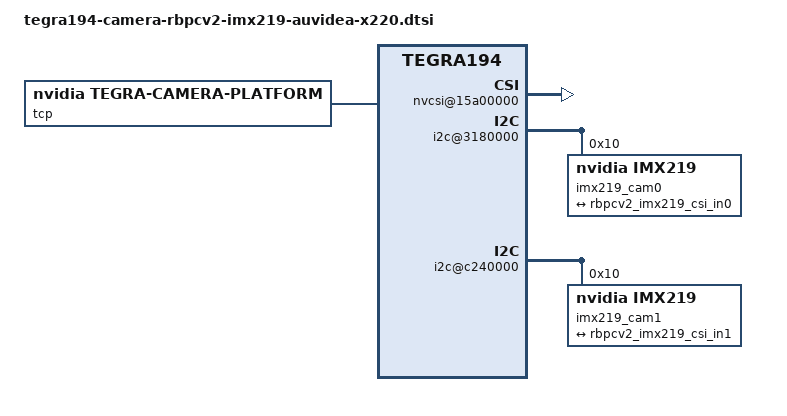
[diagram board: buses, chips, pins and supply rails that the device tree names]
/*
 * Copyright (c) 2018-2020, NVIDIA CORPORATION.  All rights reserved.
 *
 * This program is free software; you can redistribute it and/or modify
 * it under the terms of the GNU General Public License as published by
 * the Free Software Foundation; either version 2 of the License, or
 * (at your option) any later version.
 *
 * This program is distributed in the hope that it will be useful, but WITHOUT
 * ANY WARRANTY; without even the implied warranty of MERCHANTABILITY or
 * FITNESS FOR A PARTICULAR PURPOSE.  See the GNU General Public License for
 * more details.
 *
 * You should have received a copy of the GNU General Public License
 * along with this program.  If not, see <http://www.gnu.org/licenses/>.
 */

//new file created to support imx219 cameras on the auvidea X220/X221(fd)
#include <dt-bindings/media/camera.h>

/ {
	host1x {
		//delete-node/ vi@15c10000;
		vi_base: vi@15c10000  {
			status="okay";
			num-channels = <2>;
			ports {
				#address-cells = <1>;
				#size-cells = <0>;
				vi_port0: port@0 {
					status="okay";
					reg = <0>;
					rbpcv2_imx219_vi_in0: endpoint {
						status="okay";
						vc-id = <0>;
						port-index = <0>;
						bus-width = <2>;
						remote-endpoint = <&rbpcv2_imx219_csi_out0>;
					};
				};
				vi_port1: port@1 {
					status="okay";
					reg = <1>;
					rbpcv2_imx219_vi_in1: endpoint {
						status="okay";
						vc-id = <1>;
						port-index = <2>;
						bus-width = <2>;
						remote-endpoint = <&rbpcv2_imx219_csi_out1>;
					};
				};
				/*vi_port2: port@2 {
					reg = <2>;
					rbpcv2_imx219_vi_in2: endpoint {
						port-index = <4>;
						bus-width = <2>;
						remote-endpoint = <&rbpcv2_imx219_csi_out2>;
					};
				};*/
			};
		};


		//delete-node/ nvcsi@15a00000;
		nvcsi@15a00000 {
			status="okay";
			num-channels = <2>;
			#address-cells = <1>;
			#size-cells = <0>;
			csi_chan0: channel@0 {
				status="okay";
				reg = <0>;
				ports {
					status="okay";
					#address-cells = <1>;
					#size-cells = <0>;
					csi_chan0_port0: port@0 {
						status="okay";
						reg = <0>;
						rbpcv2_imx219_csi_in0: endpoint@0 {
							status="okay";
							port-index = <0>;
							bus-width = <2>;
							remote-endpoint = <&rbpcv2_imx219_out0>;
						};
					};
					csi_chan0_port1: port@1 {
						status="okay";
						reg = <1>;
						rbpcv2_imx219_csi_out0: endpoint@1 {
							status="okay";
							remote-endpoint = <&rbpcv2_imx219_vi_in0>;
						};
					};
				};
			};
			csi_chan1: channel@1 {
				status="okay";
				reg = <1>;
				ports {
					status="okay";
					#address-cells = <1>;
					#size-cells = <0>;
					csi_chan1_port0: port@0 {
						status="okay";
						reg = <0>;
						rbpcv2_imx219_csi_in1: endpoint@2 {
							status="okay";
							port-index = <2>;
							bus-width = <2>;
							remote-endpoint = <&rbpcv2_imx219_out1>;
						};
					};
					csi_chan1_port1: port@1 {
						status="okay";
						reg = <1>;
						rbpcv2_imx219_csi_out1: endpoint@3 {
							status="okay";
							remote-endpoint = <&rbpcv2_imx219_vi_in1>;
						};
					};
				};
			};
			/*csi_chan2: channel@2 {
				reg = <2>;
				ports {
					#address-cells = <1>;
					#size-cells = <0>;
					csi_chan2_port0: port@0 {
						reg = <0>;
						rbpcv2_imx219_csi_in2: endpoint@4 {
							port-index = <4>;
							bus-width = <2>;
							remote-endpoint = <&rbpcv2_imx219_out2>;
						};
					};
					csi_chan2_port1: port@1 {
						reg = <1>;
						rbpcv2_imx219_csi_out2: endpoint@5 {
							remote-endpoint = <&rbpcv2_imx219_vi_in2>;
						};
					};
				};
			};*/
		};
	};

	i2c@3180000 {					
		status="okay";
		imx219_cam0: rbpcv2_imx219_a@10 {
			status="okay";
			compatible = "nvidia,imx219";
			reg = <0x10>;

			devnode = "video0";

			physical_w = "3.680";
			physical_h = "2.760";

			sensor_model = "imx219";

			use_sensor_mode_id = "true";

			mode0 {
				mclk_khz = "24000";
				num_lanes = "2";
				tegra_sinterface = "serial_a";
				phy_mode = "DPHY";
				discontinuous_clk = "yes";
				dpcm_enable = "false";
				cil_settletime = "0";

				active_w = "3264";
				active_h = "2464";
				pixel_t = "bayer_rggb";
				readout_orientation = "90";
				line_length = "3448";
				inherent_gain = "1";
				mclk_multiplier = "9.33";
				pix_clk_hz = "182400000";

				gain_factor = "16";
				framerate_factor = "1000000";
				exposure_factor = "1000000";
				min_gain_val = "16";
				max_gain_val = "170"; 
				step_gain_val = "1";
				default_gain = "16";
				min_hdr_ratio = "1";
				max_hdr_ratio = "1";
				min_framerate = "2000000";
				max_framerate = "21000000"; 
				step_framerate = "1";
				default_framerate = "21000000"; 
				min_exp_time = "13"; 
				max_exp_time = "683709"; 
				step_exp_time = "1";
				default_exp_time = "2495"; 

				embedded_metadata_height = "2";
			};
			mode1 {
				mclk_khz = "24000";
				num_lanes = "2";
				tegra_sinterface = "serial_a";
				phy_mode = "DPHY";
				discontinuous_clk = "yes";
				dpcm_enable = "false";
				cil_settletime = "0";

				active_w = "3264";
				active_h = "1848";
				pixel_t = "bayer_rggb";
				readout_orientation = "90";
				line_length = "3448";
				inherent_gain = "1";
				mclk_multiplier = "9.33";
				pix_clk_hz = "182400000";

				gain_factor = "16";
				framerate_factor = "1000000";
				exposure_factor = "1000000";
				min_gain_val = "16"; 
				max_gain_val = "170"; 
				step_gain_val = "1";
				default_gain = "16"; 
				min_hdr_ratio = "1";
				max_hdr_ratio = "1";
				min_framerate = "2000000"; 
				max_framerate = "28000000"; 
				step_framerate = "1";
				default_framerate = "28000000"; 
				min_exp_time = "13";
				max_exp_time = "683709"; 
				step_exp_time = "1";
				default_exp_time = "2495"; 

				embedded_metadata_height = "2";
			};
			mode2 {
				mclk_khz = "24000";
				num_lanes = "2";
				tegra_sinterface = "serial_a";
				phy_mode = "DPHY";
				discontinuous_clk = "yes";
				dpcm_enable = "false";
				cil_settletime = "0";

				active_w = "1920";
				active_h = "1080";
				pixel_t = "bayer_rggb";
				readout_orientation = "90";
				line_length = "3448";
				inherent_gain = "1";
				mclk_multiplier = "9.33";
				pix_clk_hz = "182400000";

				gain_factor = "16";
				framerate_factor = "1000000";
				exposure_factor = "1000000";
				min_gain_val = "16"; 
				max_gain_val = "170"; 
				step_gain_val = "1";
				default_gain = "16"; 
				min_hdr_ratio = "1";
				max_hdr_ratio = "1";
				min_framerate = "2000000"; 
				max_framerate = "30000000"; 
				step_framerate = "1";
				default_framerate = "30000000"; 
				min_exp_time = "13"; 
				max_exp_time = "683709"; 
				step_exp_time = "1";
				default_exp_time = "2495"; 

				embedded_metadata_height = "2";
			};
			mode3 {
				mclk_khz = "24000";
				num_lanes = "2";
				tegra_sinterface = "serial_a";
				phy_mode = "DPHY";
				discontinuous_clk = "yes";
				dpcm_enable = "false";
				cil_settletime = "0";

				active_w = "1280";
				active_h = "720";
				pixel_t = "bayer_rggb";
				readout_orientation = "90";
				line_length = "3448";
				inherent_gain = "1";
				mclk_multiplier = "9.33";
				pix_clk_hz = "182400000";

				gain_factor = "16";
				framerate_factor = "1000000";
				exposure_factor = "1000000";
				min_gain_val = "16"; 
				max_gain_val = "170";
				step_gain_val = "1";
				default_gain = "16"; 
				min_hdr_ratio = "1";
				max_hdr_ratio = "1";
				min_framerate = "2000000"; 
				max_framerate = "60000000"; 
				step_framerate = "1";
				default_framerate = "60000000"; 
				min_exp_time = "13"; 
				max_exp_time = "683709"; 
				step_exp_time = "1";
				default_exp_time = "2495"; 

				embedded_metadata_height = "2";
			};
			mode4 {
				mclk_khz = "24000";
				num_lanes = "2";
				tegra_sinterface = "serial_a";
				phy_mode = "DPHY";
				discontinuous_clk = "yes";
				dpcm_enable = "false";
				cil_settletime = "0";

				active_w = "1280";
				active_h = "720";
				pixel_t = "bayer_rggb";
				readout_orientation = "90";
				line_length = "3448";
				inherent_gain = "1";
				mclk_multiplier = "9.33";
				pix_clk_hz = "169600000";

				gain_factor = "16";
				framerate_factor = "1000000";
				exposure_factor = "1000000";
				min_gain_val = "16"; 
				max_gain_val = "170"; 
				step_gain_val = "1";
				default_gain = "16";
				min_hdr_ratio = "1";
				max_hdr_ratio = "1";
				min_framerate = "2000000"; 
				max_framerate = "120000000"; 
				step_framerate = "1";
				default_framerate = "120000000"; 
				min_exp_time = "13"; 
				max_exp_time = "683709"; 
				step_exp_time = "1";
				default_exp_time = "2495"; 

				embedded_metadata_height = "2";
			};

			ports {
				status="okay";
				#address-cells = <1>;
				#size-cells = <0>;
				port@0 {
					status="okay";
					reg = <0>;
					rbpcv2_imx219_out0: endpoint {
						status="okay";
						port-index = <0>;
						bus-width = <2>;
						remote-endpoint = <&rbpcv2_imx219_csi_in0>;
					};
				};
			};
		};
	};

	i2c@c240000 {						
		status="okay";
		imx219_cam1: rbpcv2_imx219_e@10 {
			status="okay";
			compatible = "nvidia,imx219";
			reg = <0x10>;

			devnode = "video1";

			physical_w = "3.680";
			physical_h = "2.760";

			sensor_model = "imx219";

			use_sensor_mode_id = "true";

			mode0 {
				mclk_khz = "24000";
				num_lanes = "2";
				tegra_sinterface = "serial_e";
				phy_mode = "DPHY";
				discontinuous_clk = "yes";
				dpcm_enable = "false";
				cil_settletime = "0";

				active_w = "3264";
				active_h = "2464";
				pixel_t = "bayer_rggb";
				readout_orientation = "90";
				line_length = "3448";
				inherent_gain = "1";
				mclk_multiplier = "9.33";
				pix_clk_hz = "182400000";

				gain_factor = "16";
				framerate_factor = "1000000";
				exposure_factor = "1000000";
				min_gain_val = "16"; 
				max_gain_val = "170"; 
				step_gain_val = "1";
				default_gain = "16"; 
				min_hdr_ratio = "1";
				max_hdr_ratio = "1";
				min_framerate = "2000000"; 
				max_framerate = "21000000";
				step_framerate = "1";
				default_framerate = "21000000"; 
				min_exp_time = "13"; 
				max_exp_time = "683709"; 
				step_exp_time = "1";
				default_exp_time = "2495";

				embedded_metadata_height = "2";
			};
			mode1 {
				mclk_khz = "24000";
				num_lanes = "2";
				tegra_sinterface = "serial_e";
				phy_mode = "DPHY";
				discontinuous_clk = "yes";
				dpcm_enable = "false";
				cil_settletime = "0";

				active_w = "3264";
				active_h = "1848";
				pixel_t = "bayer_rggb";
				readout_orientation = "90";
				line_length = "3448";
				inherent_gain = "1";
				mclk_multiplier = "9.33";
				pix_clk_hz = "182400000";

				gain_factor = "16";
				framerate_factor = "1000000";
				exposure_factor = "1000000";
				min_gain_val = "16"; 
				max_gain_val = "170"; 
				step_gain_val = "1";
				default_gain = "16"; 
				min_hdr_ratio = "1";
				max_hdr_ratio = "1";
				min_framerate = "2000000"; 
				max_framerate = "28000000"; 
				step_framerate = "1";
				default_framerate = "28000000"; 
				min_exp_time = "13";
				max_exp_time = "683709"; 
				step_exp_time = "1";
				default_exp_time = "2495"; 

				embedded_metadata_height = "2";
			};
			mode2 {
				mclk_khz = "24000";
				num_lanes = "2";
				tegra_sinterface = "serial_e";
				phy_mode = "DPHY";
				discontinuous_clk = "yes";
				dpcm_enable = "false";
				cil_settletime = "0";

				active_w = "1920";
				active_h = "1080";
				pixel_t = "bayer_rggb";
				readout_orientation = "90";
				line_length = "3448";
				inherent_gain = "1";
				mclk_multiplier = "9.33";
				pix_clk_hz = "182400000";

				gain_factor = "16";
				framerate_factor = "1000000";
				exposure_factor = "1000000";
				min_gain_val = "16"; 
				max_gain_val = "170";
				step_gain_val = "1";
				default_gain = "16"; 
				min_hdr_ratio = "1";
				max_hdr_ratio = "1";
				min_framerate = "2000000"; 
				max_framerate = "30000000";
				step_framerate = "1";
				default_framerate = "30000000"; 
				min_exp_time = "13";
				max_exp_time = "683709"; 
				step_exp_time = "1";
				default_exp_time = "2495";
 
				embedded_metadata_height = "2";
			};
			mode3 {
				mclk_khz = "24000";
				num_lanes = "2";
				tegra_sinterface = "serial_e";
				phy_mode = "DPHY";
				discontinuous_clk = "yes";
				dpcm_enable = "false";
				cil_settletime = "0";

				active_w = "1280";
				active_h = "720";
				pixel_t = "bayer_rggb";
				readout_orientation = "90";
				line_length = "3448";
				inherent_gain = "1";
				mclk_multiplier = "9.33";
				pix_clk_hz = "182400000";

				gain_factor = "16";
				framerate_factor = "1000000";
				exposure_factor = "1000000";
				min_gain_val = "16"; 
				max_gain_val = "170"; 
				step_gain_val = "1";
				default_gain = "16"; 
				min_hdr_ratio = "1";
				max_hdr_ratio = "1";
				min_framerate = "2000000"; 
				max_framerate = "60000000"; 
				step_framerate = "1";
				default_framerate = "60000000"; 
				min_exp_time = "13"; 
				max_exp_time = "683709"; 
				step_exp_time = "1";
				default_exp_time = "2495"; 

				embedded_metadata_height = "2";
			};
			mode4 {
				mclk_khz = "24000";
				num_lanes = "2";
				tegra_sinterface = "serial_e";
				phy_mode = "DPHY";
				discontinuous_clk = "yes";
				dpcm_enable = "false";
				cil_settletime = "0";

				active_w = "1280";
				active_h = "720";
				pixel_t = "bayer_rggb";
				readout_orientation = "90";
				line_length = "3448";
				inherent_gain = "1";
				mclk_multiplier = "9.33";
				pix_clk_hz = "169600000";

				gain_factor = "16";
				framerate_factor = "1000000";
				exposure_factor = "1000000";
				min_gain_val = "16"; 
				max_gain_val = "170"; 
				step_gain_val = "1";
				default_gain = "16"; 
				min_hdr_ratio = "1";
				max_hdr_ratio = "1";
				min_framerate = "2000000"; 
				max_framerate = "120000000"; 
				step_framerate = "1";
				default_framerate = "120000000"; 
				min_exp_time = "13"; 
				max_exp_time = "683709";
				step_exp_time = "1";
				default_exp_time = "2495"; 

				embedded_metadata_height = "2";
			};

			ports {
				status="okay";
				#address-cells = <1>;
				#size-cells = <0>;
				port@0 {
					status="okay";
					reg = <0>;
					rbpcv2_imx219_out1: endpoint {
						status = "okay";
						port-index = <2>;
						bus-width = <2>;
						remote-endpoint = <&rbpcv2_imx219_csi_in1>;
					};
				};
			};
		};
	};

	/*i2c@3160000 {
		status="okay";
		imx219_cam2: rbpcv2_imx219_c@10 {
			status="okay";
			compatible = "nvidia,imx219";
			reg = <0x10>;

			devnode = "video2";

			physical_w = "3.680";
			physical_h = "2.760";

			sensor_model = "imx219";

			use_sensor_mode_id = "true";

			mode0 {
				mclk_khz = "24000";
				num_lanes = "2";
				tegra_sinterface = "serial_c";
				phy_mode = "DPHY";
				discontinuous_clk = "yes";
				dpcm_enable = "false";
				cil_settletime = "0";

				active_w = "3264";
				active_h = "2464";
				pixel_t = "bayer_rggb";
				readout_orientation = "90";
				line_length = "3448";
				inherent_gain = "1";
				mclk_multiplier = "9.33";
				pix_clk_hz = "182400000";

				gain_factor = "16";
				framerate_factor = "1000000";
				exposure_factor = "1000000";
				min_gain_val = "16";
				max_gain_val = "170"; 
				step_gain_val = "1";
				default_gain = "16";
				min_hdr_ratio = "1";
				max_hdr_ratio = "1";
				min_framerate = "2000000";
				max_framerate = "21000000"; 
				step_framerate = "1";
				default_framerate = "21000000"; 
				min_exp_time = "13"; 
				max_exp_time = "683709"; 
				step_exp_time = "1";
				default_exp_time = "2495"; 

				embedded_metadata_height = "2";
			};
			mode1 {
				mclk_khz = "24000";
				num_lanes = "2";
				tegra_sinterface = "serial_c";
				phy_mode = "DPHY";
				discontinuous_clk = "yes";
				dpcm_enable = "false";
				cil_settletime = "0";

				active_w = "3264";
				active_h = "1848";
				pixel_t = "bayer_rggb";
				readout_orientation = "90";
				line_length = "3448";
				inherent_gain = "1";
				mclk_multiplier = "9.33";
				pix_clk_hz = "182400000";

				gain_factor = "16";
				framerate_factor = "1000000";
				exposure_factor = "1000000";
				min_gain_val = "16"; 
				max_gain_val = "170"; 
				step_gain_val = "1";
				default_gain = "16"; 
				min_hdr_ratio = "1";
				max_hdr_ratio = "1";
				min_framerate = "2000000"; 
				max_framerate = "28000000"; 
				step_framerate = "1";
				default_framerate = "28000000"; 
				min_exp_time = "13";
				max_exp_time = "683709"; 
				step_exp_time = "1";
				default_exp_time = "2495"; 

				embedded_metadata_height = "2";
			};
			mode2 { 
				mclk_khz = "24000";
				num_lanes = "2";
				tegra_sinterface = "serial_c";
				phy_mode = "DPHY";
				discontinuous_clk = "yes";
				dpcm_enable = "false";
				cil_settletime = "0";

				active_w = "1920";
				active_h = "1080";
				pixel_t = "bayer_rggb";
				readout_orientation = "90";
				line_length = "3448";
				inherent_gain = "1";
				mclk_multiplier = "9.33";
				pix_clk_hz = "182400000";

				gain_factor = "16";
				framerate_factor = "1000000";
				exposure_factor = "1000000";
				min_gain_val = "16"; 
				max_gain_val = "170"; 
				step_gain_val = "1";
				default_gain = "16"; 
				min_hdr_ratio = "1";
				max_hdr_ratio = "1";
				min_framerate = "2000000"; 
				max_framerate = "30000000"; 
				step_framerate = "1";
				default_framerate = "30000000"; 
				min_exp_time = "13"; 
				max_exp_time = "683709"; 
				step_exp_time = "1";
				default_exp_time = "2495"; 

				embedded_metadata_height = "2";
			};
			mode3 { 
				mclk_khz = "24000";
				num_lanes = "2";
				tegra_sinterface = "serial_c";
				phy_mode = "DPHY";
				discontinuous_clk = "yes";
				dpcm_enable = "false";
				cil_settletime = "0";

				active_w = "1280";
				active_h = "720";
				pixel_t = "bayer_rggb";
				readout_orientation = "90";
				line_length = "3448";
				inherent_gain = "1";
				mclk_multiplier = "9.33";
				pix_clk_hz = "182400000";

				gain_factor = "16";
				framerate_factor = "1000000";
				exposure_factor = "1000000";
				min_gain_val = "16"; 
				max_gain_val = "170";
				step_gain_val = "1";
				default_gain = "16"; 
				min_hdr_ratio = "1";
				max_hdr_ratio = "1";
				min_framerate = "2000000"; 
				max_framerate = "60000000"; 
				step_framerate = "1";
				default_framerate = "60000000"; 
				min_exp_time = "13"; 
				max_exp_time = "683709"; 
				step_exp_time = "1";
				default_exp_time = "2495"; 

				embedded_metadata_height = "2";
			};
			mode4 { 
				mclk_khz = "24000";
				num_lanes = "2";
				tegra_sinterface = "serial_c";
				phy_mode = "DPHY";
				discontinuous_clk = "yes";
				dpcm_enable = "false";
				cil_settletime = "0";

				active_w = "1280";
				active_h = "720";
				pixel_t = "bayer_rggb";
				readout_orientation = "90";
				line_length = "3448";
				inherent_gain = "1";
				mclk_multiplier = "9.33";
				pix_clk_hz = "169600000";

				gain_factor = "16";
				framerate_factor = "1000000";
				exposure_factor = "1000000";
				min_gain_val = "16"; 
				max_gain_val = "170"; 
				step_gain_val = "1";
				default_gain = "16";
				min_hdr_ratio = "1";
				max_hdr_ratio = "1";
				min_framerate = "2000000"; 
				max_framerate = "120000000"; 
				step_framerate = "1";
				default_framerate = "120000000"; 
				min_exp_time = "13"; 
				max_exp_time = "683709"; 
				step_exp_time = "1";
				default_exp_time = "2495"; 

				embedded_metadata_height = "2";
			};

			ports {
				status="okay";
				#address-cells = <1>;
				#size-cells = <0>;
				port@0 {
					status="okay";
					reg = <0>;
					rbpcv2_imx219_out2: endpoint {
						status="okay";
						port-index = <4>;
						bus-width = <2>;
						remote-endpoint = <&rbpcv2_imx219_csi_in2>;
					};
				};
			};
		};
	};*/

	lens_imx219@RBPCV2 {
		min_focus_distance = "0.0";
		hyper_focal = "0.0";
		focal_length = "3.04";
		f_number = "2.0";
		aperture = "0.0";
	};
};
/ {
	tcp: tegra-camera-platform {
		compatible = "nvidia, tegra-camera-platform";

		num_csi_lanes = <4>;
		max_lane_speed = <1500000>;
		min_bits_per_pixel = <10>;
		vi_peak_byte_per_pixel = <2>;
		vi_bw_margin_pct = <25>;
		max_pixel_rate = <240000>;
		isp_peak_byte_per_pixel = <5>;
		isp_bw_margin_pct = <25>;

		modules {
			status="okay";
			cam_module0: module0 {
				status="okay";
				//badge = "galen_bottom_RBP194";
				//position = "bottom";
				badge = "galen_front_RBP194";
				position = "front";
				orientation = "1";
				cam_module0_drivernode0: drivernode0 {
					status="okay";
					pcl_id = "v4l2_sensor";
					devname = "imx219 2-0010";
					proc-device-tree = "/proc/device-tree/i2c@3180000/rbpcv2_imx219_a@10";
				};
				cam_module0_drivernode1: drivernode1 {
					status="okay";
					pcl_id = "v4l2_lens";
					proc-device-tree = "/proc/device-tree/lens_imx219@RBPCV2/";
				};
			};
			cam_module1: module1 {
				status="okay";
				//badge = "galen_top_RBP194";
				//position = "top";
				badge = "galen_rear_RBP194";
				position = "rear";
				orientation = "1";
				cam_module1_drivernode0: drivernode0 {
					status="okay";
					pcl_id = "v4l2_sensor";
					devname = "imx219 1-0010";
					proc-device-tree = "/proc/device-tree/i2c@c240000/rbpcv2_imx219_e@10";
				};
				cam_module1_drivernode1: drivernode1 {
					status="okay";
					pcl_id = "v4l2_lens";
					proc-device-tree = "/proc/device-tree/lens_imx219@RBPCV2/";
				};
			};
			/*cam_module2: module2 {
				badge = "galen_center_RBP194";
				position = "center";
				orientation = "1";
				cam_module2_drivernode0: drivernode0 {
					pcl_id = "v4l2_sensor";
					devname = "imx219 0-0010";
					proc-device-tree = "/proc/device-tree/i2c@3160000/rbpcv2_imx219_c@10";
				};
				cam_module2_drivernode1: drivernode1 {
					pcl_id = "v4l2_lens";
					proc-device-tree = "/proc/device-tree/lens_imx219@RBPCV2/";
				};
			};*/
		};
	};
};
